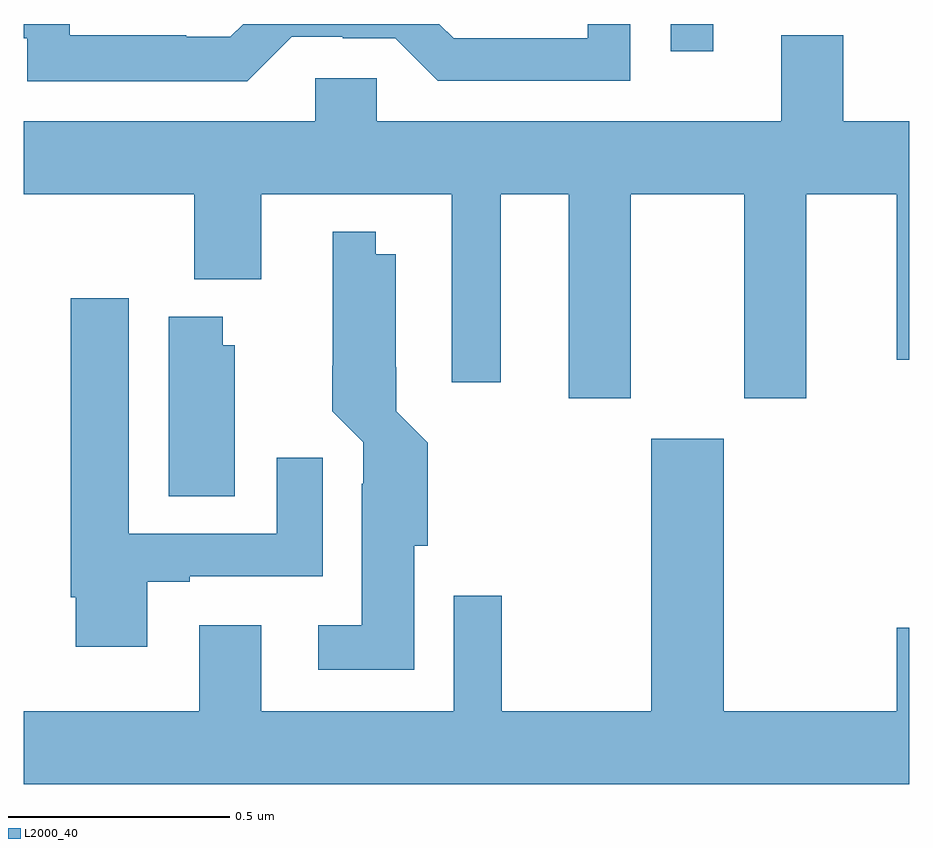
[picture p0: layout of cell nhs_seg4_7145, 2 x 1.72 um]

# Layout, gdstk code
import gdstk
lib = gdstk.Library(unit=1e-6, precision=1e-09)
def R(c, l, rs):  # rectangles x0, y0, x1, y1
    for r in rs: c.add(gdstk.rectangle(r[:2], r[2:], *l))
def P(c, l, *ps):  # polygons
    for p in ps: c.add(gdstk.Polygon(p, *l))
L2000_40 = (2000, 40)

nhs_seg4_7145 = lib.new_cell('nhs_seg4_7145')
R(nhs_seg4_7145, L2000_40, [(200.461,767.838,200.557,767.9)])
P(nhs_seg4_7145, L2000_40, [(199.605,767.871),(199.721,767.871),(199.721,767.868),(199.839,767.868),(199.935,767.772),(200.37,767.772),(200.37,767.9),(200.274,767.9),(200.274,767.868),(199.971,767.868),(199.939,767.9),(199.496,767.9),(199.467,767.871),(199.367,767.871),(199.367,767.875),(199.104,767.875),(199.104,767.9),(199,767.9),(199,767.868),(199.008,767.868),(199.008,767.771),(199.505,767.771)],
  [(200.371,767.516),(200.627,767.516),(200.627,767.055),(200.767,767.055),(200.767,767.516),(200.972,767.516),(200.972,767.142),(201,767.142),(201,767.68),(200.851,767.68),(200.851,767.875),(200.711,767.875),(200.711,767.68),(199.797,767.68),(199.797,767.778),(199.659,767.778),(199.659,767.68),(199,767.68),(199,767.516),(199.385,767.516),(199.385,767.324),(199.537,767.324),(199.537,767.516),(199.967,767.516),(199.967,767.091),(200.077,767.091),(200.077,767.516),(200.231,767.516),(200.231,767.055),(200.371,767.055)],
  [(199.882,766.722),(199.913,766.722),(199.913,766.954),(199.841,767.026),(199.841,767.125),(199.84,767.125),(199.84,767.38),(199.795,767.38),(199.795,767.431),(199.698,767.431),(199.698,767.128),(199.697,767.128),(199.697,767.026),(199.767,766.956),(199.767,766.862),(199.763,766.862),(199.763,766.543),(199.665,766.543),(199.665,766.442),(199.882,766.442)],
  [(199.279,766.641),(199.375,766.641),(199.375,766.653),(199.675,766.653),(199.675,766.921),(199.571,766.921),(199.571,766.749),(199.237,766.749),(199.237,767.281),(199.106,767.281),(199.106,766.606),(199.118,766.606),(199.118,766.494),(199.279,766.494)],
  [(199.477,767.175),(199.45,767.175),(199.45,767.239),(199.328,767.239),(199.328,766.834),(199.477,766.834)],
  [(201,766.537),(200.972,766.537),(200.972,766.348),(200.581,766.348),(200.581,766.963),(200.417,766.963),(200.417,766.348),(200.08,766.348),(200.08,766.609),(199.971,766.609),(199.971,766.348),(199.537,766.348),(199.537,766.543),(199.397,766.543),(199.397,766.348),(199,766.348),(199,766.184),(201,766.184)])

lib.write_gds('nhs_seg4_7145.gds')
